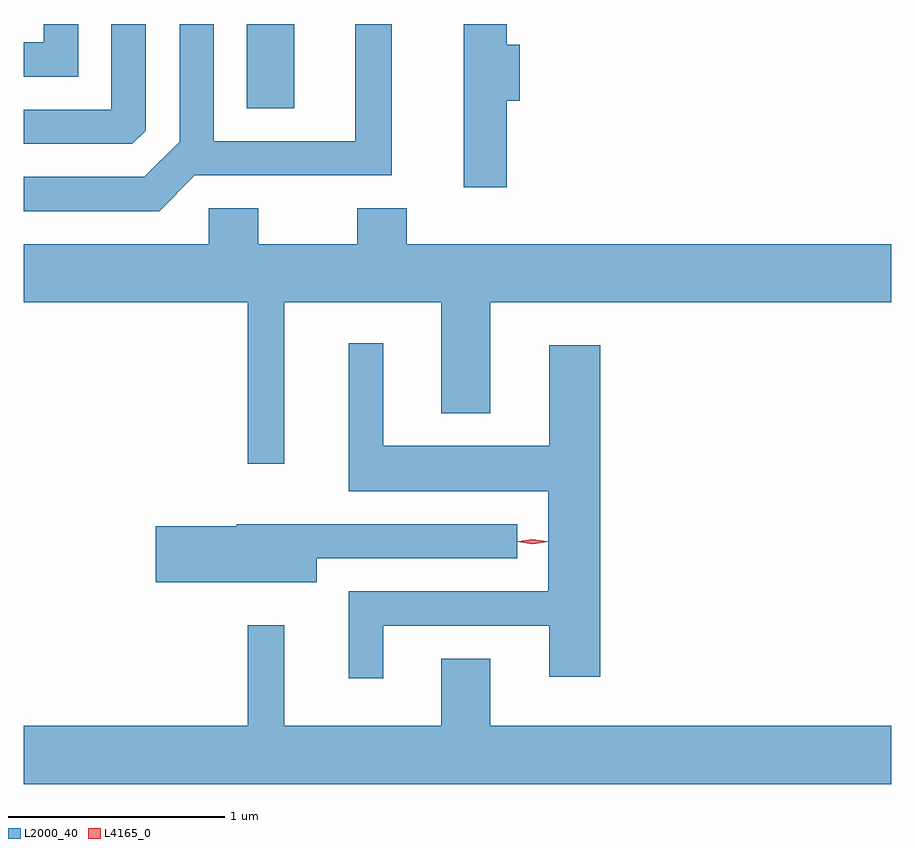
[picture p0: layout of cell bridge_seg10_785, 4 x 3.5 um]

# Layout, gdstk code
import gdstk
lib = gdstk.Library(unit=1e-6, precision=1e-09)
def R(c, l, rs):  # rectangles x0, y0, x1, y1
    for r in rs: c.add(gdstk.rectangle(r[:2], r[2:], *l))
def P(c, l, *ps):  # polygons
    for p in ps: c.add(gdstk.Polygon(p, *l))
L2000_40 = (2000, 40)
L4165_0 = (4165, 0)

bridge_seg10_785 = lib.new_cell('bridge_seg10_785')
R(bridge_seg10_785, L2000_40, [(580.906,2097.051,581.124,2097.439)])
P(bridge_seg10_785, L2000_40, [(580.667,2096.741),(581.574,2096.741),(581.574,2097.439),(581.406,2097.439),(581.406,2096.899),(580.754,2096.899),(580.754,2097.439),(580.596,2097.439),(580.596,2096.896),(580.434,2096.734),(579.877,2096.734),(579.877,2096.576),(580.502,2096.576)],
  [(582.104,2097.086),(582.164,2097.086),(582.164,2097.344),(582.104,2097.344),(582.104,2097.439),(581.906,2097.439),(581.906,2096.686),(582.104,2096.686)],
  [(580.129,2097.439),(579.971,2097.439),(579.971,2097.354),(579.877,2097.354),(579.877,2097.196),(580.129,2097.196)],
  [(580.439,2096.947),(580.439,2097.439),(580.281,2097.439),(580.281,2097.044),(579.877,2097.044),(579.877,2096.886),(580.379,2096.886)],
  [(581.079,2096.156),(581.801,2096.156),(581.801,2095.646),(582.029,2095.646),(582.029,2096.156),(583.877,2096.156),(583.877,2096.424),(581.644,2096.424),(581.644,2096.589),(581.416,2096.589),(581.416,2096.424),(580.959,2096.424),(580.959,2096.589),(580.731,2096.589),(580.731,2096.424),(579.877,2096.424),(579.877,2096.156),(580.911,2096.156),(580.911,2095.413),(581.079,2095.413)],
  [(581.534,2094.666),(582.301,2094.666),(582.301,2094.431),(582.534,2094.431),(582.534,2095.959),(582.301,2095.959),(582.301,2095.494),(581.534,2095.494),(581.534,2095.968),(581.376,2095.968),(581.376,2095.286),(582.296,2095.286),(582.296,2094.824),(581.376,2094.824),(581.376,2094.423),(581.534,2094.423)],
  [(581.229,2094.976),(582.153,2094.976),(582.153,2095.134),(580.86,2095.134),(580.86,2095.124),(580.486,2095.124),(580.486,2094.866),(581.229,2094.866)],
  [(583.877,2094.204),(582.029,2094.204),(582.029,2094.514),(581.801,2094.514),(581.801,2094.204),(581.079,2094.204),(581.079,2094.668),(580.911,2094.668),(580.911,2094.204),(579.877,2094.204),(579.877,2093.936),(583.877,2093.936)])
P(bridge_seg10_785, L4165_0, [(582.223,2095.045),(582.158,2095.054),(582.157,2095.055),(582.158,2095.055),(582.223,2095.065),(582.289,2095.055),(582.289,2095.055),(582.289,2095.054)],
  [(582.223,2095.042),(582.154,2095.052),(582.154,2095.052),(582.154,2095.053),(582.223,2095.062),(582.292,2095.053),(582.293,2095.052),(582.292,2095.052)])

lib.write_gds('bridge_seg10_785.gds')
